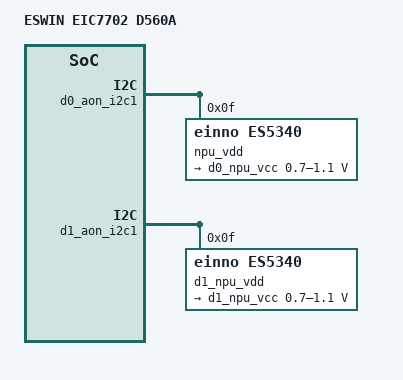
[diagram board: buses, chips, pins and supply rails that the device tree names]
// SPDX-License-Identifier: GPL-2.0
/*
 * Device Tree file for Eswin EIC7702 SoC.
 *
 * Copyright 2024, Beijing ESWIN Computing Technology Co., Ltd.. All rights reserved.
 * SPDX-License-Identifier: GPL-2.0
 *
 * This program is free software: you can redistribute it and/or modify
 * it under the terms of the GNU General Public License as published by
 * the Free Software Foundation, version 2.
 *
 * This program is distributed in the hope that it will be useful,
 * but WITHOUT ANY WARRANTY; without even the implied warranty of
 * MERCHANTABILITY or FITNESS FOR A PARTICULAR PURPOSE.  See the
 * GNU General Public License for more details.
 *
 * You should have received a copy of the GNU General Public License
 * along with this program.  If not, see <https://www.gnu.org/licenses/>.
 */

/dts-v1/;

#include "eic7702-d560.dts"

/ {
	model = "ESWIN EIC7702 D560A";
};

&spi0 {
	/* spi flash PY25Q128LA */
};

&sdhci_emmc {
	/* emmc YXSCG6PE-AK */
	negedge-data-out;
};

&d0_i2c5 {
	/delete-node/ tmp102@48;
};

&d0_aon_i2c1 {
	/* temp sensor(gx112) & pmic(ES5340) */
	/delete-node/ tps549d22@10;

	es5340@f {
		compatible = "einno,es5340";
		reg = <0xf>;
		eswin,regulator_default-microvolt=<1000000>;
		eswin,regulator_label = "Supply VDD", "D0 NPU Voltage", "D0 NPU CURRENT", "D0 NPU Temperature";
		label = "npu_vdd";
		regulators{
			d0_npu_vcc:npu_svcc{
				regulator-name="D0_NPU_SVCC";
				regulator-min-microvolt=<700000>;
				regulator-max-microvolt=<1100000>;
				regulator-min-microamp=<20000000>;
				regulator-max-microamp=<40000000>;
				regulator-ov-protection-microvolt=<1100000>;
			};
		};
	};
};

&d1_aon_i2c1 {
	/* pmic(ES5340) */
	/delete-node/ tps549d22@10;

	es5340@f {
		compatible = "einno,es5340";
		reg = <0xf>;
		eswin,regulator_default-microvolt=<1000000>;
		eswin,regulator_label = "Supply VDD1", "D1 NPU Voltage", "D1 NPU CURRENT", "D1 NPU Temperature";
		label = "d1_npu_vdd";
		regulators{
			d1_npu_vcc:npu_svcc{
				regulator-name="D1_NPU_SVCC";
				regulator-min-microvolt=<700000>;
				regulator-max-microvolt=<1100000>;
				regulator-min-microamp=<20000000>;
				regulator-max-microamp=<40000000>;
				regulator-ov-protection-microvolt=<1100000>;
			};
		};
	};
};

&d0_dmc {
	status = "disabled";
};
&d1_dmc {
	status = "disabled";
};
